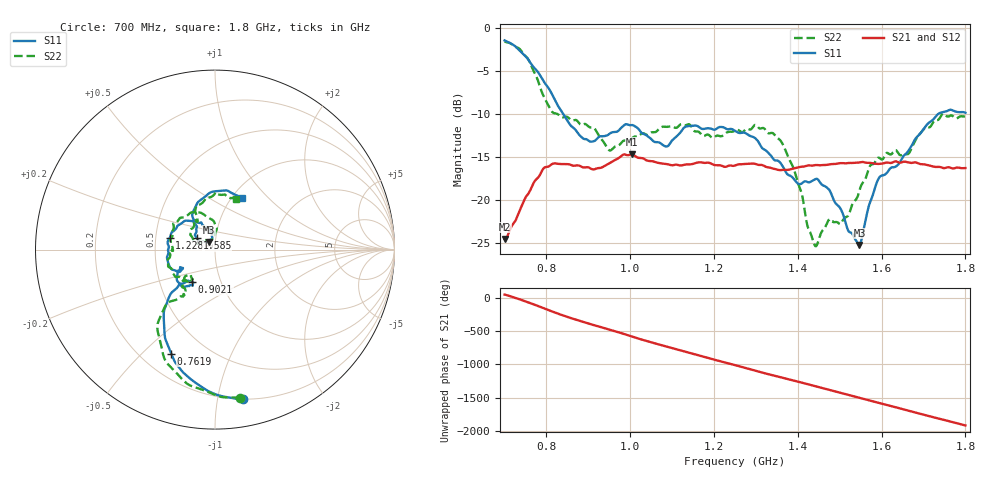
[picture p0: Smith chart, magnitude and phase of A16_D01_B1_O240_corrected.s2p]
! Created with skrf 1.9.0 (http://scikit-rf.org).
# Hz S RI R 50.0
!freq ReS11 ImS11 ReS21 ImS21 ReS12 ImS12 ReS22 ImS22
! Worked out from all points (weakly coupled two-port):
!   1601 points, 700 MHz to 1.8 GHz, reference 50 ohm
!   highest |S21| = -14.66 dB at 1.005 GHz (marker M1); lowest = -24.5 dB at 700.7 MHz (marker M2)
!   lowest |S11| = -25.2 dB at 1.547 GHz (marker M3), VSWR 1.12, Z = 46.5 + j3.99 ohm
!   |S11| at or under -10 dB: 840.3 MHz to 1.734 GHz (893.9 MHz wide, 69.4 % of centre)
!   |S22| runs from -25.3 to -1.5 dB; largest |S21 - S12| = 0.0037
!   S11 on the Smith chart (normalised r, x): 700 MHz: 0.20, -1.19; 761.9 MHz: 0.32, -0.62; 902.1 MHz: 0.73, -0.28; 1.228 GHz: 0.59, +0.08; 1.585 GHz: 0.81, +0.10; 1.8 GHz: 1.12, +0.71
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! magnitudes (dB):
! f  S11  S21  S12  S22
! 700 MHz  -1.4  -24.5  -24.3  -1.5
! 700.7 MHz  -1.4  -24.5  -24.2  -1.6
! 761.9 MHz  -4.0  -18.8  -18.7  -4.2
! 812.8 MHz  -7.6  -15.8  -15.8  -9.7
! 883.6 MHz  -12.7  -16.1  -16.0  -11.2
! 902.1 MHz  -13.1  -16.2  -16.2  -11.5
! 950.9 MHz  -12.2  -15.7  -15.7  -14.2
! 1.005 GHz  -11.2  -14.7  -14.8  -12.8
! 1.067 GHz  -13.3  -15.7  -15.6  -11.8
! 1.137 GHz  -11.4  -15.8  -15.8  -11.2
! 1.228 GHz  -11.7  -16.1  -16.0  -12.2
! 1.25 GHz  -11.9  -16.0  -15.9  -11.9
! 1.36 GHz  -15.8  -16.5  -16.5  -13.1
! 1.392 GHz  -17.6  -16.3  -16.3  -16.6
! 1.434 GHz  -17.8  -16.0  -15.9  -24.3
! 1.504 GHz  -21.1  -15.7  -15.7  -22.7
! 1.547 GHz  -25.2  -15.6  -15.6  -18.9
! 1.585 GHz  -18.4  -15.7  -15.8  -15.5
! 1.617 GHz  -16.5  -15.6  -15.6  -14.6
! 1.663 GHz  -14.3  -15.6  -15.6  -14.6
! 1.735 GHz  -9.9  -16.1  -16.2  -10.6
! 1.8 GHz  -9.8  -16.3  -16.2  -10.3
